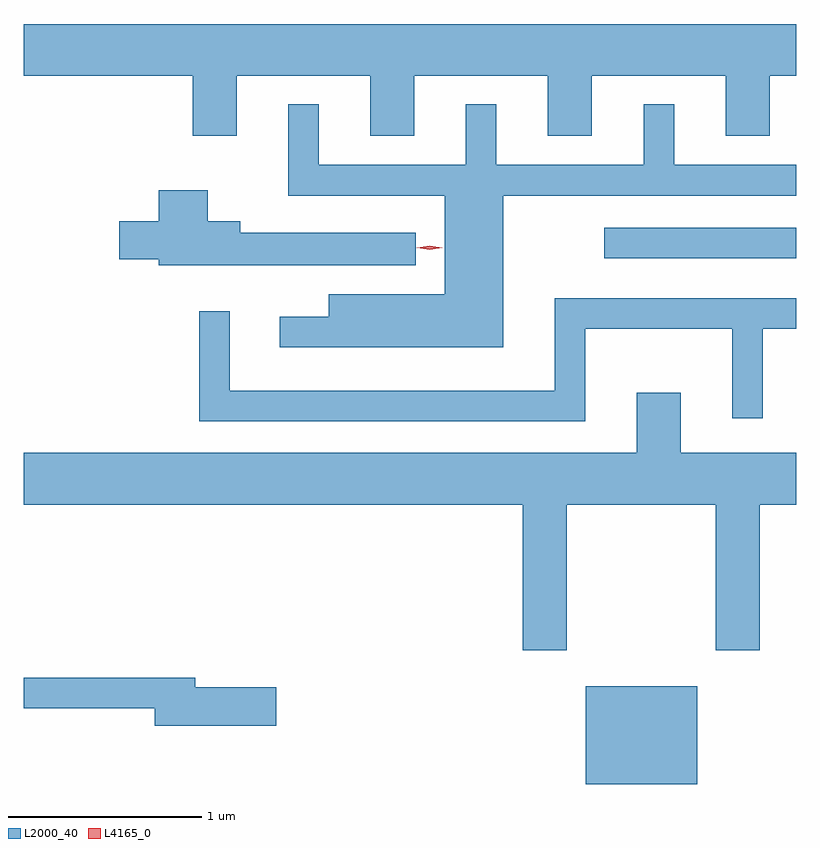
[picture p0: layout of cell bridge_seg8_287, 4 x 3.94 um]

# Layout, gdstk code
import gdstk
lib = gdstk.Library(unit=1e-6, precision=1e-09)
def R(c, l, rs):  # rectangles x0, y0, x1, y1
    for r in rs: c.add(gdstk.rectangle(r[:2], r[2:], *l))
def P(c, l, *ps):  # polygons
    for p in ps: c.add(gdstk.Polygon(p, *l))
L2000_40 = (2000, 40)
L4165_0 = (4165, 0)

bridge_seg8_287 = lib.new_cell('bridge_seg8_287')
R(bridge_seg8_287, L2000_40, [(1425.176,1819.429,1425.754,1819.934), (1425.273,1822.151,1426.267,1822.309)])
P(bridge_seg8_287, L2000_40, [(1423.369,1823.096),(1424.061,1823.096),(1424.061,1822.786),(1424.289,1822.786),(1424.289,1823.096),(1424.981,1823.096),(1424.981,1822.786),(1425.209,1822.786),(1425.209,1823.096),(1425.901,1823.096),(1425.901,1822.786),(1426.129,1822.786),(1426.129,1823.096),(1426.267,1823.096),(1426.267,1823.364),(1422.267,1823.364),(1422.267,1823.096),(1423.141,1823.096),(1423.141,1822.786),(1423.369,1822.786)],
  [(1424.749,1822.476),(1426.267,1822.476),(1426.267,1822.634),(1425.634,1822.634),(1425.634,1822.948),(1425.476,1822.948),(1425.476,1822.634),(1424.714,1822.634),(1424.714,1822.948),(1424.556,1822.948),(1424.556,1822.634),(1423.794,1822.634),(1423.794,1822.948),(1423.636,1822.948),(1423.636,1822.476),(1424.446,1822.476),(1424.446,1821.964),(1423.846,1821.964),(1423.846,1821.849),(1423.593,1821.849),(1423.593,1821.691),(1424.749,1821.691)],
  [(1424.298,1822.284),(1423.389,1822.284),(1423.389,1822.344),(1423.219,1822.344),(1423.219,1822.504),(1422.966,1822.504),(1422.966,1822.344),(1422.761,1822.344),(1422.761,1822.146),(1422.966,1822.146),(1422.966,1822.116),(1424.298,1822.116)],
  [(1425.174,1821.786),(1425.936,1821.786),(1425.936,1821.323),(1426.094,1821.323),(1426.094,1821.786),(1426.267,1821.786),(1426.267,1821.944),(1425.016,1821.944),(1425.016,1821.464),(1423.334,1821.464),(1423.334,1821.878),(1423.176,1821.878),(1423.176,1821.306),(1425.174,1821.306)],
  [(1425.079,1820.876),(1425.851,1820.876),(1425.851,1820.121),(1426.079,1820.121),(1426.079,1820.876),(1426.267,1820.876),(1426.267,1821.144),(1425.669,1821.144),(1425.669,1821.454),(1425.441,1821.454),(1425.441,1821.144),(1422.267,1821.144),(1422.267,1820.876),(1424.851,1820.876),(1424.851,1820.121),(1425.079,1820.121)],
  [(1423.574,1819.929),(1423.154,1819.929),(1423.154,1819.979),(1422.267,1819.979),(1422.267,1819.821),(1422.946,1819.821),(1422.946,1819.731),(1423.574,1819.731)])
P(bridge_seg8_287, L4165_0, [(1424.369,1822.195),(1424.303,1822.205),(1424.302,1822.205),(1424.303,1822.206),(1424.369,1822.215),(1424.435,1822.206),(1424.435,1822.206),(1424.435,1822.205)])

lib.write_gds('bridge_seg8_287.gds')
